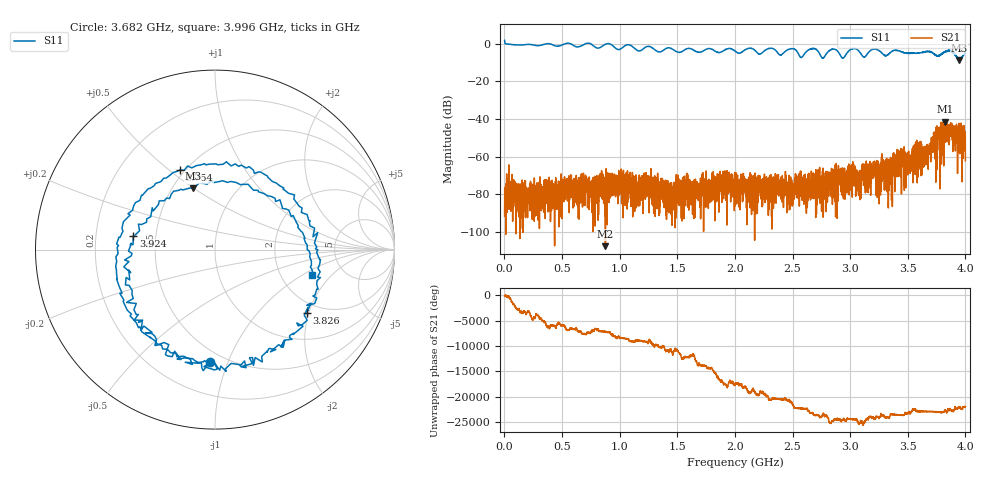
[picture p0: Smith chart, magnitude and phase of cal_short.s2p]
!Created with skrf (http://scikit-rf.org).
# GHz S RI R 50.0
!freq ReS11 ImS11 ReS21 ImS21 ReS12 ImS12 ReS22 ImS22
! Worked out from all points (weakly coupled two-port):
!   4000 points, 1 MHz to 4 GHz, reference 50 ohm
!   highest |S21| = -41.41 dB at 3.826 GHz (marker M1); lowest = -107.7 dB at 876 MHz (marker M2)
!   lowest |S11| = -8.8 dB at 3.945 GHz (marker M3), VSWR 2.14, Z = 31.5 + j24.9 ohm
!   |S11| at or under -10 dB: nowhere
!   S12 and S22 are empty: the file has one direction only
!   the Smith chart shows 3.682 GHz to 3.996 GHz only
!   S11 on the Smith chart (normalised r, x): 3.682 GHz: 0.42, -0.86; 3.754 GHz: 0.47, +0.54; 3.826 GHz: 1.70, -1.95; 3.924 GHz: 0.37, +0.07; 3.996 GHz: 2.99, -1.21
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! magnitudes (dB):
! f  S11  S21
! 1 MHz  1.8  -91.8
! 668 MHz  -1.0  -72.4
! 876 MHz  -0.2  -107.7
! 1.334 GHz  -4.1  -74.7
! 2.001 GHz  -3.8  -70.6
! 2.498 GHz  -2.5  -77.6
! 2.577 GHz  -7.2  -74.3
! 2.667 GHz  -2.6  -74.5
! 2.763 GHz  -7.5  -80.8
! 2.852 GHz  -2.7  -71.0
! 2.935 GHz  -7.5  -68.7
! 3.028 GHz  -2.4  -69.4
! 3.334 GHz  -5.4  -61.5
! 3.424 GHz  -3.7  -57.9
! 3.682 GHz  -4.1  -56.8
! 3.754 GHz  -6.3  -57.0
! 3.826 GHz  -4.1  -41.4
! 3.924 GHz  -6.7  -47.5
! 3.945 GHz  -8.8  -45.4
! 3.979 GHz  -6.3  -52.8
! 3.996 GHz  -5.1  -49.7
! 4 GHz  -4.9  -62.2
